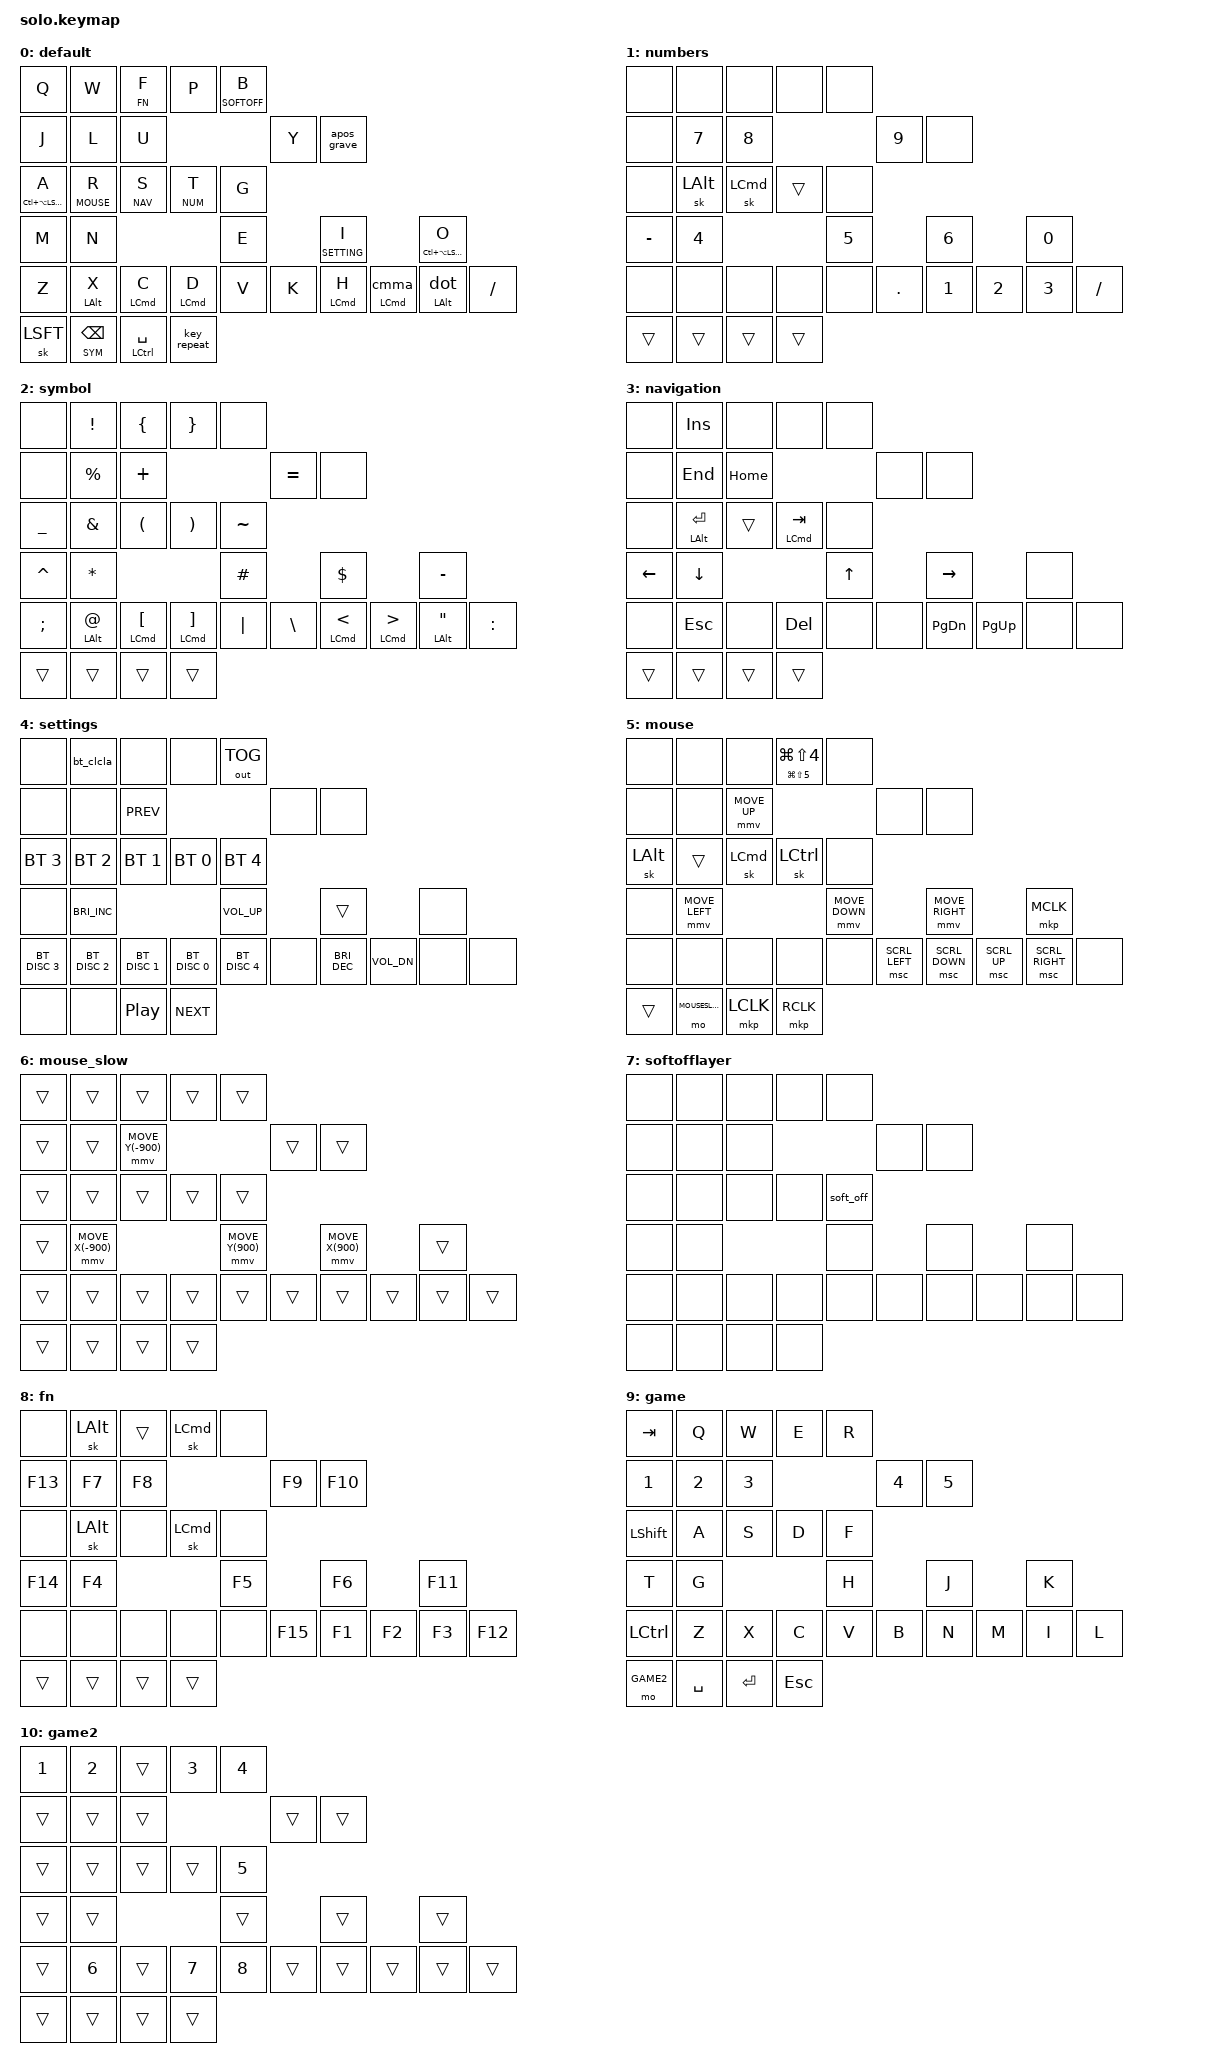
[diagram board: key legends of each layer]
/*
 * Copyright (c) 2022 The ZMK Contributors
 *
 * SPDX-License-Identifier: MIT
 */

#include <behaviors.dtsi>
#include <dt-bindings/zmk/keys.h>
#include <dt-bindings/zmk/bt.h>
#include <dt-bindings/zmk/outputs.h>

#define ZMK_POINTING_DEFAULT_MOVE_VAL 1800
#include <dt-bindings/zmk/pointing.h>

#define BASE        0
#define NUM         1
#define SYM         2
#define NAV         3
#define SETTING     4
#define MOUSE       5
#define MOUSESLOW   6
#define SOFTOFF     7
#define FN			8
#define GAME        9
#define GAME2       10

&soft_off {
    hold-time-ms = <5000>; // Only turn off if key held for +3s
};

&mt {
    flavor = "tap-preferred";
    tapping-term-ms = <220>;
    quick-tap-ms = <180>;
    require-prior-idle-ms = <100>;
};

&sk {
    release-after-ms = <500>;
    quick-release;
};

&caps_word {
    continue-list = <UNDERSCORE MINUS BSPC>;
};

/ {
    combos {
        compatible = "zmk,combos";

        /****************************************
        ********** Left Hand Combos  ***********
        ****************************************/

        combo_game {
            timeout-ms = <80>;
          key-positions =   <20 21 22 23>;
            bindings = <&tog GAME>;
        };

        combo_ctrl_b {
            timeout-ms = <40>;
            key-positions = <11 12>;
            bindings = <&kp LC(B)>;
        };

        combo_save {
            timeout-ms = <40>;
            key-positions = <12 13>;
            bindings = <&kp LC(S)>;
        };

        combo_copy_yank {
            timeout-ms = <40>;
            key-positions = <21 22>;
            bindings = <&kp LC(C)>;
        };

	    combo_paste {
            timeout-ms = <40>;
            key-positions = <22 23>;
            bindings = <&kp LC(V)>;
        };

        combo_app_switcher {
            timeout-ms = <40>;
            key-positions = <21 22 23>;
            bindings = <&kp LG(TAB)>;
        };

    	combo_ctrl_tab {
            timeout-ms = <40>;
            key-positions = <2 13>;
            bindings = <&kp LC(TAB)>;
        };

    	combo_ctrl_tab_back {
            timeout-ms = <40>;
            key-positions = <2 11>;
            bindings = <&kp LC(LS(TAB))>;
        };

    	combo_swap_tab_down {
            timeout-ms = <40>;
            key-positions = <12 3>;
            bindings = <&kp LC(LS(PAGE_DOWN))>;
        };

    	combo_swap_tab_up {
            timeout-ms = <40>;
            key-positions = <1 12>;
            bindings = <&kp LC(LS(PAGE_UP))>;
        };

    	combo_back_history {
            timeout-ms = <40>;
            key-positions = <1 2>;
            bindings = <&kp LA(LEFT)>;
        };

    	combo_forward_history {
            timeout-ms = <40>;
            key-positions = <2 3>;
            bindings = <&kp LA(RIGHT)>;
        };

    	combo_space {
            timeout-ms = <40>;
            key-positions = <11 12 13>;
            bindings = <&kp SPACE>;
        };

        combo_refresh {
            timeout-ms = <40>;
            key-positions = <11 13>;
            bindings = <&kp LC(R)>;
        };

        /****************************************
        ********** Right Hand Combos  ***********
        ****************************************/

    	combo_esc {
            timeout-ms = <40>;
            key-positions = <16 17>;
            bindings = <&kp ESC>;
            layers = <0 1 2 3>;
        };

        combo_return {
            timeout-ms = <40>;
            key-positions = <17 18>;
            bindings = <&kp RETURN>;
            layers = <0 1 2 3>;
        };

    	combo_del {
            timeout-ms = <40>;
            key-positions = <26 27>;
            bindings = <&kp DEL>;
        };

    	combo_tab {
            timeout-ms = <40>;
            key-positions = <27 28>;
            bindings = <&kp TAB>;
        };

    	combo_bol {
            timeout-ms = <40>;
            key-positions = <6 7>;
            bindings = <&kp HOME>;
        };

    	combo_eol {
            timeout-ms = <40>;
            key-positions = <7 8>;
            bindings = <&kp END>;
        };

    	combo_word_left {
            timeout-ms = <40>;
            key-positions = <7 16>;
            bindings = <&kp LC(LEFT)>;
            layers = <0 1 2 3>;
        };

    	combo_word_right {
            timeout-ms = <40>;
            key-positions = <7 18>;
            bindings = <&kp LC(RIGHT)>;
            layers = <0 1 2 3>;
        };

        /****************************
        ******    Code Combos   *****
        ******  Right Hand Vim  *****
        *****************************/

        combo_focus_left {
            timeout-ms = <35>;
            key-positions = <17 26>;
            bindings = <&kp LC(H)>;
        };

        combo_focus_right {
            timeout-ms = <50>;
            key-positions = <17 28>;
            bindings = <&kp LC(L)>;
        };

        combo_focus_down {
            timeout-ms = <35>;
            key-positions = <16 27>;
            bindings = <&kp LC(J)>;
        };

        combo_focus_up {
            timeout-ms = <50>;
            key-positions = <18 27>;
            bindings = <&kp LC(K)>;
        };

    };

    behaviors {
        mo_kp: momentary_hold_key_press_hold {
             compatible = "zmk,behavior-hold-tap";
             #binding-cells = <2>;
             flavor = "hold-preferred";
             tapping-term-ms = <180>;
             quick-tap-ms = <180>;
             bindings = <&mo>, <&kp>;
         };

        mo_kp_tap: momentary_hold_key_press_tap_prefer {
            compatible = "zmk,behavior-hold-tap";
            #binding-cells = <2>;
            flavor = "tap-preferred";
            tapping-term-ms = <220>;
            quick-tap-ms = <180>;
            require-prior-idle-ms = <100>;
            bindings = <&mo>, <&kp>;
        };

        sk_kp_tap: stiky_key_press_tap_prefer {
            compatible = "zmk,behavior-hold-tap";
            #binding-cells = <2>;
            flavor = "tap-preferred";
            tapping-term-ms = <220>;
            quick-tap-ms = <180>;
            require-prior-idle-ms = <100>;
            bindings = <&sk>, <&kp>;
        };

        bt_clcla: tap_dance_bt_control {
            compatible = "zmk,behavior-tap-dance";
            #binding-cells = <0>;
            tapping-term-ms = <300>;
            bindings = <&none>, <&bt BT_CLR>, <&bt BT_CLR_ALL>;
        };

        apos_grave: aposgrave {
            compatible = "zmk,behavior-mod-morph";
            #binding-cells = <0>;
            bindings = <&kp APOS>, <&kp GRAVE>;
            mods = <(MOD_LSFT|MOD_RSFT)>;
        };

        dot: period_mod_tap {
            compatible = "zmk,behavior-mod-morph";
            #binding-cells = <0>;
            bindings = <&kp DOT>, <&kp DQT>;
            mods = <(MOD_LSFT|MOD_RSFT)>;
        };

        dot_hold: dot_hold {
            compatible = "zmk,behavior-hold-tap";
            #binding-cells = <2>;
            flavor = "tap-preferred";
            tapping-term-ms = <220>;
            quick-tap-ms = <180>;
            require-prior-idle-ms = <100>;
            bindings = <&kp>, <&dot>;
        };

        cmma: cmma_mod_tap {
            compatible = "zmk,behavior-mod-morph";
            #binding-cells = <0>;
            bindings = <&kp COMMA>, <&kp EXCL>;
            mods = <(MOD_LSFT|MOD_RSFT)>;
        };

        cmma_hold: cmma_hold {
            compatible = "zmk,behavior-hold-tap";
            #binding-cells = <2>;
            flavor = "tap-preferred";
            tapping-term-ms = <220>;
            quick-tap-ms = <180>;
            require-prior-idle-ms = <100>;
            bindings = <&kp>, <&cmma>;
        };

    };

    keymap {
        compatible = "zmk,keymap";

        /* 0 */
        default {
            bindings = <
                &kp Q &kp W &mo_kp_tap FN F &kp P &mo_kp_tap SOFTOFF B
                &kp J &kp L &kp U &kp Y &apos_grave

                &mt LC(LA(LSHIFT)) A &mo_kp_tap MOUSE R &mo_kp_tap NAV S &mo_kp_tap NUM T &kp G
                &kp M &kp N &kp E &mo_kp_tap SETTING I &mt LC(LA(LSHIFT)) O

                &kp Z &mt LALT X &mt LCMD C &mt LCMD D &kp V
                &kp K &mt LCMD H &cmma_hold LCMD 0 &dot_hold LALT 0 &kp SLASH

                &sk LSFT &mo_kp SYM BSPC &sk_kp_tap LCTRL SPACE &key_repeat
            >;
		};

        /* 1 */
        numbers {
            bindings = <
                &none &none &none &none &none
                &none &kp NUM_7 &kp NUM_8 &kp NUM_9 &none

		        &none &sk LALT &sk LCMD &trans &none
                &kp MINUS &kp NUM_4 &kp NUM_5 &kp NUM_6 &kp NUM_0

                &none &none &none &none &none
                &kp DOT &kp NUM_1 &kp NUM_2 &kp NUM_3 &kp SLASH

	            &trans &trans &trans &trans
            >;
		};

        /* 2 */
	    symbol {
            bindings = <
                &none &kp EXCL &kp LBRC &kp RBRC &none
                &none &kp PERCENT &kp PLUS &kp EQUAL &none

                &kp UNDER &kp AMPS &kp LPAR &kp RPAR &kp TILDE
                &kp CARET &kp STAR &kp HASH &kp DOLLAR &kp MINUS

                &kp SEMICOLON &mt LALT AT &mt LCMD LBKT &mt LCMD RBKT &kp PIPE
                &kp BACKSLASH &mt LCMD LT &mt LCMD GT &mt LALT DQT &kp COLON

                &trans &trans &trans &trans
            >;
		};

        /* 3 */
	    navigation {
            bindings = <
                &none &kp INSERT &none &none &none
                &none &kp END &kp HOME &none &none

                &none &mt LALT RETURN &trans &mt LCMD TAB &none
                &kp LEFT &kp DOWN &kp UP &kp RIGHT &none

                &none &kp ESC &none &kp DEL &none
                &none &kp PAGE_DOWN &kp PAGE_UP &none &none

                &trans &trans &trans &trans
            >;
		};

        /* 4 */
    	settings {
            bindings = <
                &none &bt_clcla &none &none &out OUT_TOG
                &none &none &kp C_PREV &none &none

                &bt BT_SEL 3 &bt BT_SEL 2 &bt BT_SEL 1 &bt BT_SEL 0 &bt BT_SEL 4
                &none &kp C_BRIGHTNESS_INC &kp C_VOL_UP &trans &none

                &bt BT_DISC 3 &bt BT_DISC 2 &bt BT_DISC 1 &bt BT_DISC 0 &bt BT_DISC 4
                &none &kp C_BRIGHTNESS_DEC &kp C_VOL_DN &none &none

                &none &none &kp C_PP &kp C_NEXT
            >;
        };

        /* 5 */
        mouse {
            bindings = <
                &none &none &none &mt LG(LS(NUM_5)) LG(LS(NUM_4)) &none
                &none &none &mmv MOVE_UP &none &none

                &sk LALT &trans &sk LCMD &sk LCTRL &none
                &none &mmv MOVE_LEFT &mmv MOVE_DOWN  &mmv MOVE_RIGHT &mkp MCLK

                &none &none &none &none &none
                &msc SCRL_LEFT &msc SCRL_DOWN &msc SCRL_UP &msc SCRL_RIGHT &none

                &trans &mo MOUSESLOW &mkp LCLK &mkp RCLK
            >;
        };

        /* 6 */
        mouse_slow {
            bindings = <
                &trans &trans &trans &trans &trans
                &trans &trans &mmv MOVE_Y(-900) &trans &trans
                &trans &trans &trans &trans &trans
                &trans &mmv MOVE_X(-900) &mmv MOVE_Y(900) &mmv MOVE_X(900) &trans
                &trans &trans &trans &trans &trans &trans &trans &trans &trans &trans
                &trans &trans &trans &trans
            >;
        };

        /* 7 */
        softofflayer {
            bindings = <
                &none &none &none &none &none &none &none &none &none &none
                &none &none &none &none &soft_off &none &none &none &none &none
                &none &none &none &none &none &none &none &none &none &none
                &none &none &none &none
            >;
        };


        /* 8 */
        fn {
            bindings = <
                &none &sk LALT &trans &sk LCMD &none
                &kp F13 &kp F7 &kp F8 &kp F9 &kp F10

		        &none &sk LALT &none &sk LCMD &none
                &kp F14 &kp F4 &kp F5 &kp F6 &kp F11

                &none &none &none &none &none
                &kp F15 &kp F1 &kp F2 &kp F3 &kp F12

	            &trans &trans &trans &trans
            >;
		};

        /* 9 */
        game {
            bindings = <
                &kp TAB   &kp Q &kp W &kp E &kp R   &kp N1 &kp N2 &kp N3 &kp N4 &kp N5
                &kp LSHFT &kp A &kp S &kp D &kp F   &kp T  &kp G  &kp H  &kp J  &kp K
                &kp LCTRL &kp Z &kp X &kp C &kp V   &kp B  &kp N  &kp M  &kp I  &kp L
                                &mo GAME2 &kp SPACE  &kp ENTER &kp ESC
            >;
		};

        /* 10 */
        game2 {
            bindings = <
                &kp N1 &kp N2 &trans &kp N3 &kp N4   &trans &trans &trans &trans &trans
                &trans &trans &trans &trans &kp N5   &trans &trans &trans &trans &trans
                &trans &kp N6 &trans &kp N7 &kp N8   &trans &trans &trans &trans &trans
                                     &trans &trans   &trans &trans
            >;
		};

	};
};
